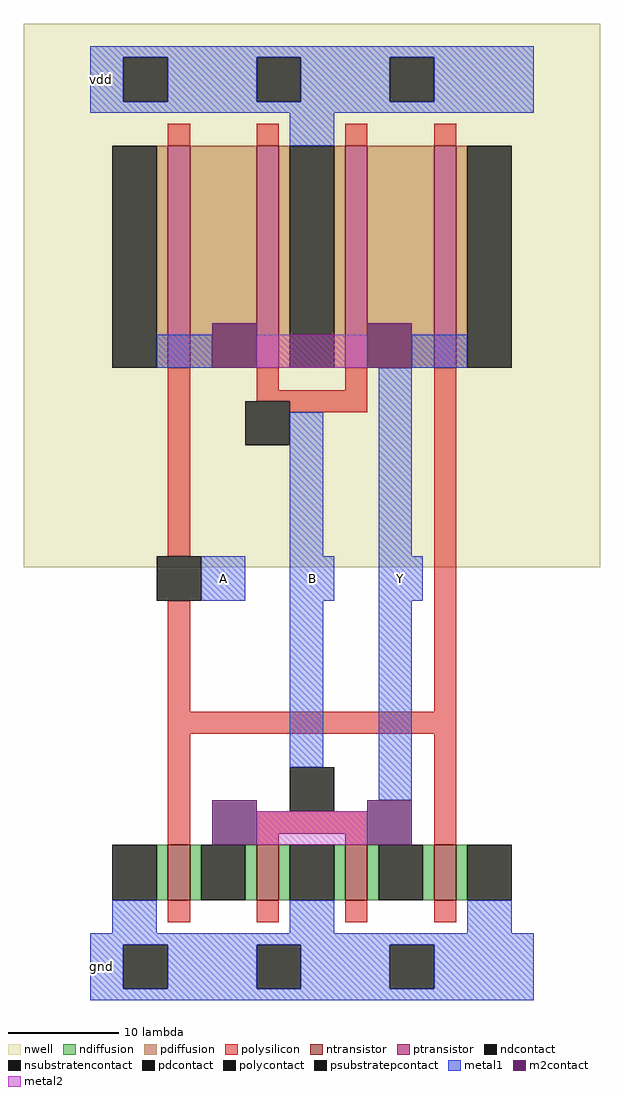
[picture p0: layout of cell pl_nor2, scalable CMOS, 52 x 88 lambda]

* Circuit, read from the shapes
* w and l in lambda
.subckt pl_nor2 A B Y vdd gnd
M1 Y A gnd gnd nfet w=5 l=2 m=2
M2 gnd B Y gnd nfet w=5 l=2 m=2
M3 n1 A Y vdd pfet w=20 l=2
M4 vdd B n1 vdd pfet w=20 l=2
M5 n2 B vdd vdd pfet w=20 l=2
M6 Y A n2 vdd pfet w=20 l=2
.ends

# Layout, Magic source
magic
tech scmos
<< nwell >>
rect -6 36 46 85
<< ndiffusion >>
rect 6 6 7 11
rect 9 6 10 11
rect 14 6 15 11
rect 17 6 18 11
rect 22 6 23 11
rect 25 6 26 11
rect 30 6 31 11
rect 33 6 34 11
<< pdiffusion >>
rect 6 54 7 74
rect 9 54 15 74
rect 17 54 18 74
rect 22 54 23 74
rect 25 54 31 74
rect 33 54 34 74
<< polysilicon >>
rect 7 4 9 6
rect 15 4 17 6
rect 23 4 25 6
rect 31 4 33 6
rect 7 11 9 21
rect 15 11 17 12
rect 23 11 25 12
rect 31 11 33 21
rect 15 12 25 14
rect 7 21 33 23
rect 7 23 9 33
rect 31 23 33 54
rect 7 37 9 54
rect 18 50 25 51
rect 15 51 25 52
rect 15 52 17 54
rect 23 52 25 54
rect 7 74 9 76
rect 15 74 17 76
rect 23 74 25 76
rect 31 74 33 76
<< ntransistor >>
rect 7 6 9 11
rect 15 6 17 11
rect 23 6 25 11
rect 31 6 33 11
<< ptransistor >>
rect 7 54 9 74
rect 15 54 17 74
rect 23 54 25 74
rect 31 54 33 74
<< ndcontact >>
rect 2 6 6 11
rect 10 6 14 11
rect 18 6 22 11
rect 26 6 30 11
rect 34 6 38 11
<< pdcontact >>
rect 2 54 6 74
rect 18 54 22 74
rect 34 54 38 74
<< polycontact >>
rect 18 14 22 18
rect 6 33 10 37
rect 14 47 18 51
<< psubstratepcontact >>
rect 3 -2 7 2
rect 15 -2 19 2
rect 27 -2 31 2
<< nsubstratencontact >>
rect 3 78 7 82
rect 15 78 19 82
rect 27 78 31 82
<< metal1 >>
rect 0 -3 40 -2
rect 0 -2 3 2
rect 7 -2 15 2
rect 19 -2 27 2
rect 31 -2 40 2
rect 0 2 40 3
rect 2 3 6 6
rect 18 3 22 6
rect 34 3 38 6
rect 26 15 29 33
rect 18 18 21 33
rect 10 33 14 37
rect 18 33 22 37
rect 26 33 30 37
rect 18 37 21 50
rect 26 37 29 54
rect 6 54 11 57
rect 29 54 34 57
rect 18 74 22 77
rect 0 77 40 78
rect 0 78 3 82
rect 7 78 15 82
rect 19 78 27 82
rect 31 78 40 82
rect 0 82 40 83
<< m2contact >>
rect 11 11 15 15
rect 25 11 29 15
rect 11 54 15 58
rect 25 54 29 58
<< metal2 >>
rect 15 11 25 14
rect 15 54 25 57
<< labels >>
rlabel metal1 s 10 33 14 37 0 A
port 1 nsew signal input
rlabel metal1 s 18 33 22 37 0 B
port 2 nsew signal input
rlabel metal1 s 26 33 30 37 0 Y
port 3 nsew signal output
rlabel metal1 s 0 77 2 83 0 vdd
port 4 nsew power bidirectional
rlabel metal1 s 0 -3 2 3 0 gnd
port 5 nsew ground bidirectional
<< properties >>
string FIXED_BBOX 0 0 40 80
<< end >>
